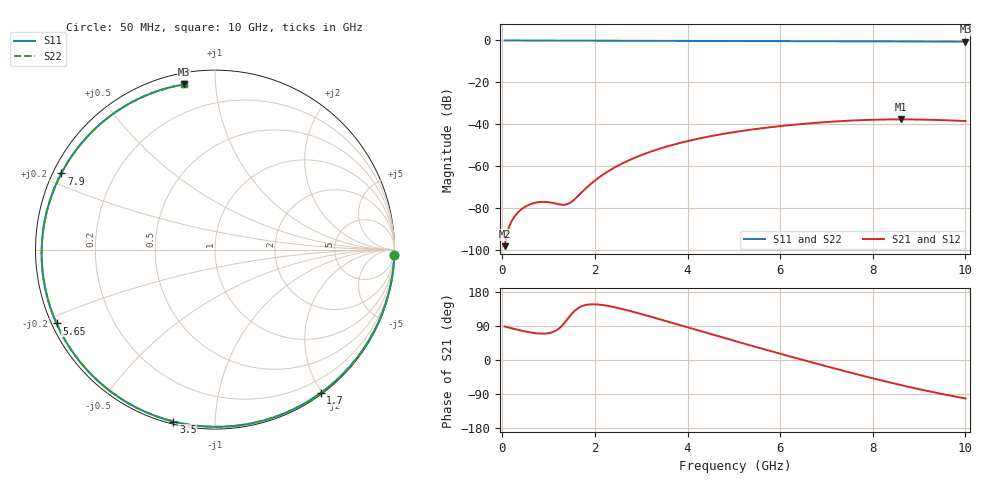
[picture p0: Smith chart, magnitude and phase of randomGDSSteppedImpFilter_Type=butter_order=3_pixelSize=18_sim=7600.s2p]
! freq	dB(S11)	phase(S11)	dB(S12)	phase(S12)
!  dB(S21)	phase(S21)	dB(S22)	phase(S22)
!S-par simulation data
#  GHz  S  DB  R 50
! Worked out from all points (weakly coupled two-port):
!   200 points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, 50 MHz to 10 GHz, reference 50 ohm
!   highest |S21| = -37.70 dB at 8.6 GHz (marker M1); lowest = -98.2 dB at 50 MHz (marker M2)
!   lowest |S11| = -0.6 dB at 10 GHz (marker M3), VSWR 30.47, Z = 2.77 + j41.4 ohm
!   |S11| at or under -10 dB: nowhere
!   |S22| runs from -0.6 to 0.0 dB; largest |S21 - S12| = 0
!   S11 on the Smith chart (normalised r, x): 50 MHz: 0, -70; 1.7 GHz: 0.02, -1.98; 3.5 GHz: 0.01, -0.79; 5.65 GHz: 0.01, -0.22; 7.9 GHz: 0.02, +0.23; 10 GHz: 0.06, +0.83
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0.05  -0.00 -1.6  -98.25 88.5  -98.25 88.5  -0.00 -1.6
0.45  -0.02 -14.6  -80.04 76.5  -80.04 76.5  -0.02 -14.6
0.65  -0.03 -21.0  -77.89 71.8  -77.89 71.8  -0.03 -21.0
0.85  -0.03 -27.3  -77.11 69.5  -77.11 69.5  -0.03 -27.3
1.35  -0.05 -42.9  -78.47 99.0  -78.47 99.0  -0.05 -42.9
1.5  -0.06 -47.5  -76.99 121.9  -76.99 121.9  -0.06 -47.5
1.7  -0.07 -53.6  -72.86 141.1  -72.86 141.1  -0.07 -53.6
1.75  -0.07 -55.1  -71.77 143.5  -71.77 143.5  -0.07 -55.1
2.1  -0.08 -65.4  -65.22 146.1  -65.22 146.1  -0.08 -65.4
2.45  -0.09 -75.4  -60.36 138.6  -60.36 138.6  -0.09 -75.4
2.9  -0.11 -87.8  -55.66 124.7  -55.66 124.7  -0.11 -87.8
3.4  -0.12 -101.0  -51.69 107.5  -51.69 107.5  -0.12 -101.0
3.5  -0.13 -103.6  -51.02 104.0  -51.02 104.0  -0.13 -103.6
4.25  -0.16 -122.3  -46.83 77.2  -46.83 77.2  -0.16 -122.3
5.05  -0.19 -141.2  -43.63 49.1  -43.63 49.1  -0.19 -141.2
5.65  -0.23 -155.0  -41.81 28.5  -41.81 28.5  -0.23 -155.0
6.7  -0.30 -178.7  -39.47 -6.8  -39.47 -6.8  -0.30 -178.7
7.9  -0.39 153.6  -37.94 -45.2  -37.94 -45.2  -0.39 153.6
8.35  -0.43 142.9  -37.73 -58.8  -37.73 -58.8  -0.43 142.9
8.6  -0.45 136.8  -37.70 -66.0  -37.70 -66.0  -0.45 136.8
9.35  -0.52 117.9  -37.95 -86.1  -37.95 -86.1  -0.52 117.9
10  -0.57 100.7  -38.47 -101.5  -38.47 -101.5  -0.57 100.7
